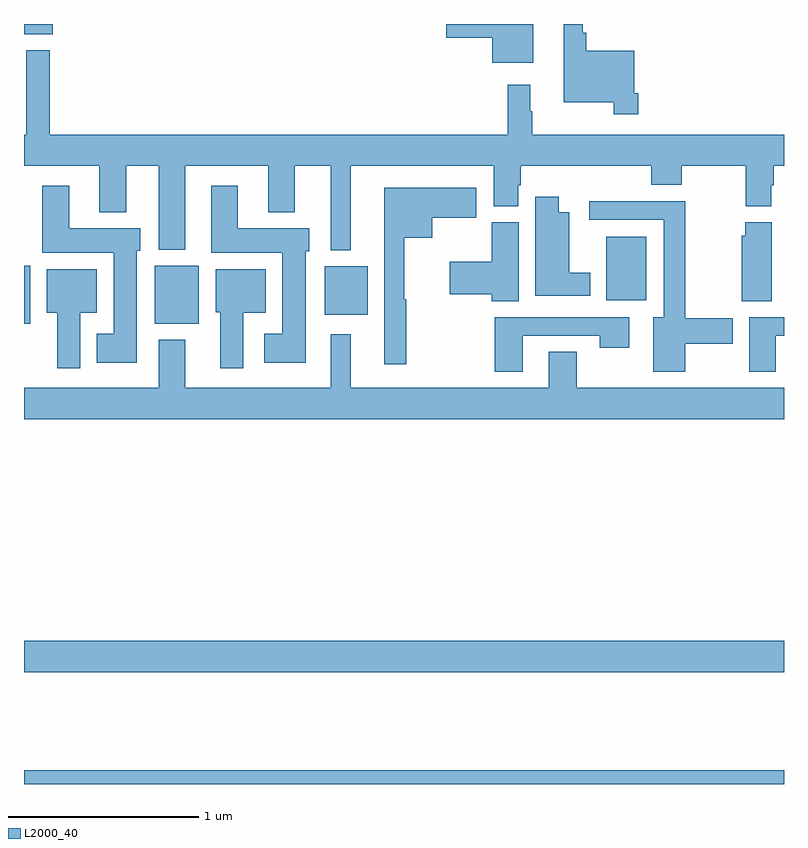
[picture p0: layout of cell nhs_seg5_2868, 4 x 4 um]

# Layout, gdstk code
import gdstk
lib = gdstk.Library(unit=1e-6, precision=1e-09)
def R(c, l, rs):  # rectangles x0, y0, x1, y1
    for r in rs: c.add(gdstk.rectangle(r[:2], r[2:], *l))
def P(c, l, *ps):  # polygons
    for p in ps: c.add(gdstk.Polygon(p, *l))
L2000_40 = (2000, 40)

nhs_seg5_2868 = lib.new_cell('nhs_seg5_2868')
R(nhs_seg5_2868, L2000_40, [(277,894.799,281,894.872), (277,895.388,281,895.552), (277,897.221,277.033,897.526), (277.688,897.221,277.921,897.526), (278.582,897.269,278.809,897.523), (280.064,897.344,280.276,897.679), (277,898.745,277.15,898.799)])
P(nhs_seg5_2868, L2000_40, [(280.232,898.435),(280.212,898.435),(280.212,898.657),(279.959,898.657),(279.959,898.753),(279.94,898.753),(279.94,898.799),(279.842,898.799),(279.842,898.388),(280.104,898.388),(280.104,898.323),(280.232,898.323)],
  [(279.679,898.799),(279.222,898.799),(279.222,898.727),(279.464,898.727),(279.464,898.595),(279.679,898.595)],
  [(278.719,898.052),(279.473,898.052),(279.473,897.841),(279.601,897.841),(279.601,897.951),(279.614,897.951),(279.614,898.052),(280.301,898.052),(280.301,897.953),(280.461,897.953),(280.461,898.052),(280.798,898.052),(280.798,897.841),(280.933,897.841),(280.933,897.951),(280.946,897.951),(280.946,898.052),(281,898.052),(281,898.216),(279.676,898.216),(279.676,898.34),(279.664,898.34),(279.664,898.48),(279.547,898.48),(279.547,898.216),(277.135,898.216),(277.135,898.66),(277.013,898.66),(277.013,898.216),(277,898.216),(277,898.052),(277.397,898.052),(277.397,897.809),(277.537,897.809),(277.537,898.052),(277.709,898.052),(277.709,897.611),(277.849,897.611),(277.849,898.052),(278.285,898.052),(278.285,897.809),(278.425,897.809),(278.425,898.052),(278.615,898.052),(278.615,897.608),(278.719,897.608)],
  [(277.594,897.606),(277.612,897.606),(277.612,897.724),(277.237,897.724),(277.237,897.949),(277.097,897.949),(277.097,897.596),(277.472,897.596),(277.472,897.169),(277.382,897.169),(277.382,897.017),(277.594,897.017)],
  [(278.482,897.603),(278.5,897.603),(278.5,897.724),(278.125,897.724),(278.125,897.949),(277.985,897.949),(277.985,897.596),(278.36,897.596),(278.36,897.169),(278.265,897.169),(278.265,897.017),(278.482,897.017)],
  [(279.011,897.35),(279.001,897.35),(279.001,897.674),(279.148,897.674),(279.148,897.779),(279.379,897.779),(279.379,897.937),(278.897,897.937),(278.897,897.009),(279.011,897.009)],
  [(279.979,897.49),(279.871,897.49),(279.871,897.808),(279.814,897.808),(279.814,897.889),(279.692,897.889),(279.692,897.368),(279.979,897.368)],
  [(280.48,897.116),(280.729,897.116),(280.729,897.251),(280.48,897.251),(280.48,897.866),(279.975,897.866),(279.975,897.768),(280.367,897.768),(280.367,897.256),(280.313,897.256),(280.313,896.97),(280.48,896.97)],
  [(280.936,897.756),(280.795,897.756),(280.795,897.684),(280.778,897.684),(280.778,897.34),(280.936,897.34)],
  [(279.604,897.756),(279.463,897.756),(279.463,897.547),(279.24,897.547),(279.24,897.377),(279.463,897.377),(279.463,897.34),(279.604,897.34)],
  [(277.297,897.278),(277.384,897.278),(277.384,897.508),(277.121,897.508),(277.121,897.278),(277.175,897.278),(277.175,896.988),(277.297,896.988)],
  [(278.155,897.278),(278.272,897.278),(278.272,897.508),(278.009,897.508),(278.009,897.282),(278.033,897.282),(278.033,896.988),(278.155,896.988)],
  [(280.957,897.159),(281,897.159),(281,897.255),(280.817,897.255),(280.817,896.97),(280.957,896.97)],
  [(279.625,897.159),(280.03,897.159),(280.03,897.096),(280.186,897.096),(280.186,897.255),(279.478,897.255),(279.478,896.97),(279.625,896.97)],
  [(281,896.884),(279.909,896.884),(279.909,897.074),(279.761,897.074),(279.761,896.884),(278.719,896.884),(278.719,897.166),(278.615,897.166),(278.615,896.884),(277.849,896.884),(277.849,897.136),(277.709,897.136),(277.709,896.884),(277,896.884),(277,896.72),(281,896.72)])

lib.write_gds('nhs_seg5_2868.gds')
